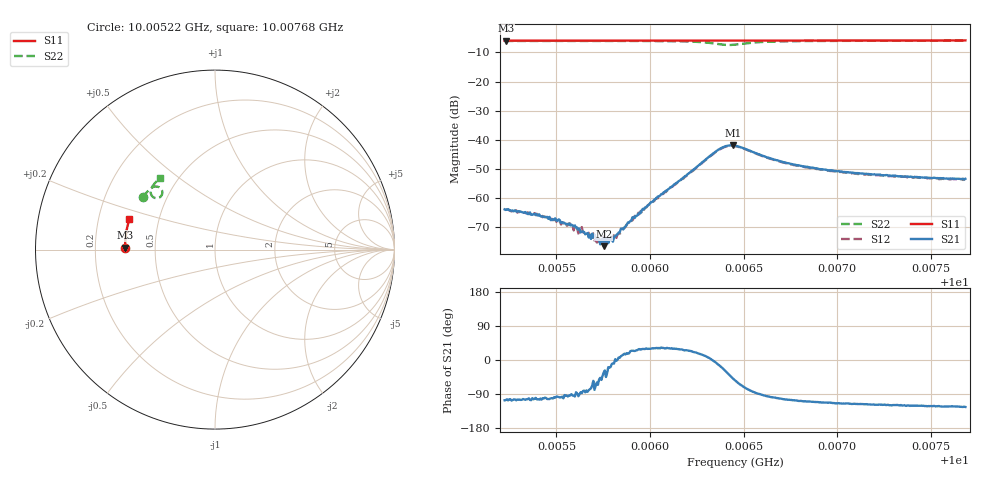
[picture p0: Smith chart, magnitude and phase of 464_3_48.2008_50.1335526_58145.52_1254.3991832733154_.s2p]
#  HZ  S  RI  R  50.00
! Rohde & Schwarz Vector Network Analyzer
! Rohde-Schwarz,ZNB20-2Port,1311601062101988,3.16
! Created: UTC 3/20/2024, 11:56:53 AM
! freq[Hz]  re:S11  im:S11  re:S21  im:S21  re:S12  im:S12  re:S22  im:S22
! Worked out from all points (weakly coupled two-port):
!   401 points, 10.00522 GHz to 10.00768 GHz, reference 50 ohm
!   highest |S21| = -41.86 dB at 10.00644 GHz (marker M1); lowest = -76.4 dB at 10.00575 GHz (marker M2)
!   lowest |S11| = -6.0 dB at 10.00523 GHz (marker M3), VSWR 3.01, Z = 16.6 + j0.514 ohm
!   |S11| at or under -10 dB: nowhere
!   |S22| runs from -7.5 to -6.0 dB; largest |S21 - S12| = 0.00052
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1.0005223e10  -0.501 0.0113  -0.000181 -0.000618  -0.000118 -0.000621  -0.4014 0.2903
1.0005229e10  -0.5008 0.0116  -0.000172 -0.000608  -0.000102 -0.000621  -0.4012 0.2906
1.0005383e10  -0.5009 0.0217  -0.000114 -0.000516  -9.74e-05 -0.000546  -0.395 0.2997
1.0005506e10  -0.5006 0.0296  -4.87e-05 -0.000405  -8.58e-05 -0.000424  -0.3896 0.3072
1.0005592e10  -0.5005 0.0352  -2.54e-05 -0.000331  8.54e-06 -0.00028  -0.3858 0.3123
1.0005635e10  -0.5005 0.0383  1.09e-05 -0.000266  2.44e-05 -0.000319  -0.3837 0.3148
1.0005672e10  -0.5002 0.0405  3.83e-05 -0.000209  8.47e-05 -0.000241  -0.3819 0.3171
1.0005703e10  -0.5002 0.0425  4.63e-05 -0.000232  7.75e-05 -0.000171  -0.3801 0.319
1.0005721e10  -0.5001 0.0437  8.16e-05 -0.000178  7.6e-05 -0.000161  -0.3794 0.3202
1.0005752e10  -0.4999 0.0457  0.000126 -8.22e-05  0.000176 -0.000138  -0.3776 0.3222
1.0005789e10  -0.4998 0.0481  0.000188 -6.34e-05  0.000178 -5.37e-05  -0.3757 0.3245
1.0005832e10  -0.4998 0.0508  0.000257 2.92e-05  0.000237 5.87e-05  -0.3732 0.3272
1.0005924e10  -0.4993 0.0567  0.000451 0.000212  0.000414 0.000227  -0.3672 0.3333
1.0006048e10  -0.4985 0.0648  0.000919 0.000571  0.000886 0.000638  -0.3571 0.3415
1.0006355e10  -0.4954 0.0847  0.00641 -0.000939  0.00631 -0.000568  -0.2956 0.3304
1.0006398e10  -0.4948 0.087  0.00684 -0.0035  0.00687 -0.0031  -0.2953 0.3069
1.0006441e10  -0.4946 0.0895  0.00538 -0.00601  0.00555 -0.00559  -0.3129 0.2888
1.0006454e10  -0.4945 0.0903  0.00469 -0.00639  0.00495 -0.00603  -0.3195 0.2869
1.0006657e10  -0.4931 0.1033  -0.000677 -0.00463  -0.000494 -0.00456  -0.3584 0.3256
1.0006866e10  -0.4905 0.1167  -0.00116 -0.00314  -0.001 -0.0031  -0.3496 0.3503
1.0007278e10  -0.4846 0.1427  -0.0012 -0.00214  -0.00105 -0.00215  -0.3284 0.3776
1.0007685e10  -0.4773 0.1679  -0.0012 -0.00179  -0.00106 -0.00179  -0.3073 0.3976
